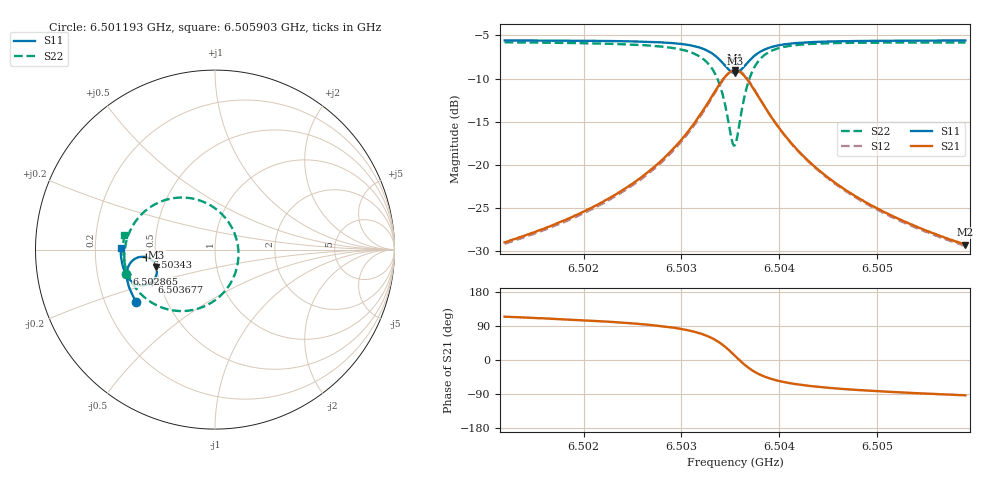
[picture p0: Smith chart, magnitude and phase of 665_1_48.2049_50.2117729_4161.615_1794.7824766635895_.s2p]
#  HZ  S  RI  R  50.00
! Rohde & Schwarz Vector Network Analyzer
! Rohde-Schwarz,ZNB20-2Port,1311601062101988,3.16
! Created: UTC 3/20/2024, 12:05:53 PM
! freq[Hz]  re:S11  im:S11  re:S21  im:S21  re:S12  im:S12  re:S22  im:S22
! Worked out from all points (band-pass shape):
!   401 points, 6.501193 GHz to 6.505903 GHz, reference 50 ohm
!   highest |S21| = -9.03 dB at 6.503548 GHz (marker M1); lowest = -29.2 dB at 6.505903 GHz (marker M2)
!   |S21| within 3 dB of the highest: 6.503313 GHz to 6.503784 GHz (470.7 kHz wide, 0.00724 % of centre)
!   lowest |S11| = -9.3 dB at 6.503548 GHz (marker M3), VSWR 2.03, Z = 25 - j5.47 ohm
!   |S11| at or under -10 dB: nowhere
!   |S22| runs from -17.7 to -5.8 dB; largest |S21 - S12| = 0.014
!   S11 on the Smith chart (normalised r, x): 6.501193 GHz: 0.34, -0.27; 6.502865 GHz: 0.33, -0.12; 6.50343 GHz: 0.45, -0.04; 6.503677 GHz: 0.46, -0.19; 6.505903 GHz: 0.31, +0.01
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6.5011929e9  -0.438 -0.2915  -0.0147 0.0326  -0.0127 0.0326  -0.4957 -0.1337
6.5019818e9  -0.4701 -0.2311  -0.0137 0.0514  -0.0109 0.0509  -0.5052 -0.0459
6.5024175e9  -0.4843 -0.1909  -0.0103 0.0719  -0.00682 0.0707  -0.4995 0.0199
6.5027708e9  -0.4914 -0.1497  -0.000242 0.103  0.00389 0.1005  -0.4771 0.0961
6.502865e9  -0.4915 -0.1361  0.00561 0.1157  0.00993 0.1125  -0.4641 0.123
6.5030652e9  -0.4855 -0.1016  0.0308 0.1523  0.035 0.1474  -0.4123 0.1937
6.5032065e9  -0.4689 -0.0712  0.0723 0.1875  0.0757 0.1808  -0.3318 0.254
6.503336e9  -0.4311 -0.0443  0.1527 0.2137  0.154 0.2066  -0.1857 0.29
6.5034302e9  -0.3826 -0.0424  0.2477 0.196  0.2484 0.1904  -0.0211 0.2443
6.5035126e9  -0.338 -0.0735  0.3287 0.1179  0.3319 0.1125  0.1089 0.0904
6.503548e9  -0.3269 -0.0967  0.3472 0.067  0.3512 0.0603  0.1303 -0.00528
6.5035715e9  -0.3238 -0.1137  0.3505 0.031  0.355 0.0227  0.1276 -0.0716
6.5036068e9  -0.3261 -0.139  0.3427 -0.0214  0.3465 -0.032  0.0988 -0.1649
6.5036775e9  -0.3496 -0.1779  0.2937 -0.1008  0.2933 -0.1142  -0.0169 -0.2937
6.5037246e9  -0.371 -0.1922  0.2516 -0.1307  0.2482 -0.1436  -0.1048 -0.3321
6.5037835e9  -0.3972 -0.1992  0.2024 -0.1477  0.1963 -0.1589  -0.2014 -0.342
6.5039366e9  -0.446 -0.1897  0.1149 -0.1431  0.1068 -0.149  -0.3592 -0.2911
6.5041014e9  -0.4746 -0.1682  0.0675 -0.121  0.0604 -0.1235  -0.4355 -0.2219
6.5043369e9  -0.496 -0.1384  0.0357 -0.0942  0.0303 -0.095  -0.481 -0.1464
6.504702e9  -0.5119 -0.0988  0.0153 -0.0687  0.0116 -0.0683  -0.5049 -0.0675
6.5051259e9  -0.5209 -0.0585  0.00546 -0.0514  0.00281 -0.0508  -0.5113 -0.00372
6.5059031e9  -0.526 0.00832  -0.00195 -0.0346  -0.00348 -0.0338  -0.5047 0.0824
